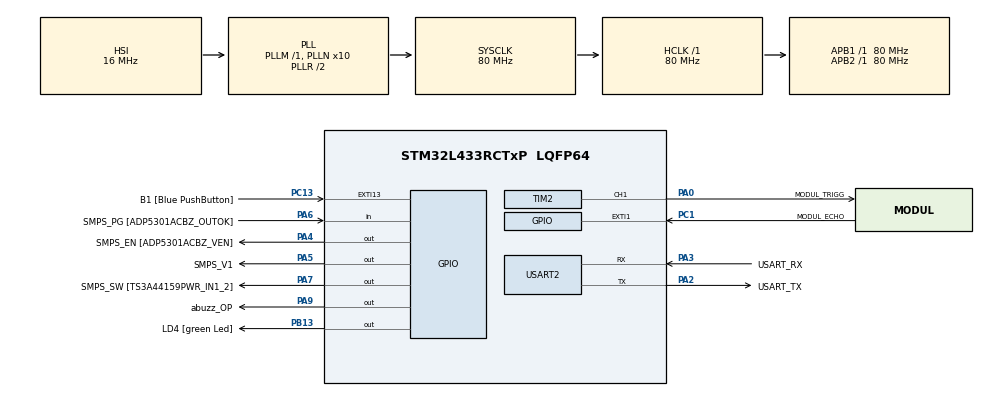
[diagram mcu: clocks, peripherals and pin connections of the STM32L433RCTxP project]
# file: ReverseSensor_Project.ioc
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Mcu.Family=STM32L4
Mcu.Name=STM32L433RCTxP
Mcu.Package=LQFP64
NVIC.EXTI1_IRQn=true\:1\:0\:true\:false\:true\:true\:true\:true
NVIC.PriorityGroup=NVIC_PRIORITYGROUP_4
NVIC.TIM2_IRQn=true\:3\:0\:true\:false\:true\:true\:true\:true
PA0.GPIO_Label=MODUL_TRIGG
PA0.Signal=S_TIM2_CH1
PA13\ (JTMS-SWDIO).GPIO_Label=TMS
PA13\ (JTMS-SWDIO).Mode=Serial_Wire
PA13\ (JTMS-SWDIO).Signal=SYS_JTMS-SWDIO
PA14\ (JTCK-SWCLK).GPIO_Label=TCK
PA14\ (JTCK-SWCLK).Mode=Serial_Wire
PA14\ (JTCK-SWCLK).Signal=SYS_JTCK-SWCLK
PA2.GPIO_Label=USART_TX
PA2.GPIO_Mode=GPIO_MODE_AF_PP
PA2.GPIO_PuPd=GPIO_NOPULL
PA2.GPIO_Speed=GPIO_SPEED_FREQ_VERY_HIGH
PA2.Mode=Asynchronous
PA2.Signal=USART2_TX
PA3.GPIO_Label=USART_RX
PA3.GPIO_Mode=GPIO_MODE_AF_PP
PA3.GPIO_PuPd=GPIO_NOPULL
PA3.GPIO_Speed=GPIO_SPEED_FREQ_VERY_HIGH
PA3.Mode=Asynchronous
PA3.Signal=USART2_RX
PA4.GPIO_Label=SMPS_EN [ADP5301ACBZ_VEN]
PA4.Signal=GPIO_Output
PA5.GPIO_Label=SMPS_V1
PA5.GPIO_ModeDefaultOutputPP=GPIO_MODE_OUTPUT_PP
PA5.GPIO_PuPd=GPIO_NOPULL
PA5.GPIO_Speed=GPIO_SPEED_FREQ_LOW
PA5.Signal=GPIO_Output
PA6.GPIO_Label=SMPS_PG [ADP5301ACBZ_OUTOK]
PA6.GPIO_PuPd=GPIO_PULLUP
PA6.Signal=GPIO_Input
PA7.GPIO_Label=SMPS_SW [TS3A44159PWR_IN1_2]
PA7.Signal=GPIO_Output
PA9.GPIO_Label=abuzz_OP
PA9.Signal=GPIO_Output
PB13.GPIO_Label=LD4 [green Led]
PB13.Signal=GPIO_Output
PB3\ (JTDO-TRACESWO).GPIO_Label=SWO
PB3\ (JTDO-TRACESWO).Signal=SYS_JTDO-SWO
PC1.GPIO_Label=MODUL_ECHO
PC1.GPIO_ModeDefaultEXTI=GPIO_MODE_IT_RISING_FALLING
PC1.Signal=GPXTI1
PC13.GPIO_Label=B1 [Blue PushButton]
PC13.GPIO_ModeDefaultEXTI=GPIO_MODE_IT_FALLING
PC13.GPIO_PuPd=GPIO_NOPULL
PC13.Signal=GPXTI13
PC14-OSC32_IN\ (PC14).Mode=LSE-External-Oscillator
PC14-OSC32_IN\ (PC14).Signal=RCC_OSC32_IN
PC15-OSC32_OUT\ (PC15).Mode=LSE-External-Oscillator
PC15-OSC32_OUT\ (PC15).Signal=RCC_OSC32_OUT
PH0-OSC_IN\ (PH0).GPIO_Label=MCO
PH0-OSC_IN\ (PH0).Mode=HSE-External-Clock-Source
PH0-OSC_IN\ (PH0).Signal=RCC_OSC_IN
PH1-OSC_OUT\ (PH1).Signal=RCC_OSC_OUT
ProjectManager.HeapSize=0x200
ProjectManager.StackSize=0x400
ProjectManager.TargetToolchain=STM32CubeIDE
RCC.ADCFreq_Value=64000000
RCC.AHBFreq_Value=80000000
RCC.APB1Freq_Value=80000000
RCC.APB1TimFreq_Value=80000000
RCC.APB2Freq_Value=80000000
RCC.APB2TimFreq_Value=80000000
RCC.CortexFreq_Value=80000000
RCC.HCLKFreq_Value=80000000
RCC.HSE_VALUE=8000000
RCC.HSI48_VALUE=48000000
RCC.HSI_VALUE=16000000
RCC.MSI_VALUE=4000000
RCC.PLLN=10
RCC.PLLSourceVirtual=RCC_PLLSOURCE_HSI
RCC.PREFETCH_ENABLE=1
RCC.SYSCLKFreq_VALUE=80000000
RCC.SYSCLKSource=RCC_SYSCLKSOURCE_PLLCLK
RCC.USBFreq_Value=64000000
RCC.VCOOutputFreq_Value=160000000
SH.S_TIM2_CH1.0=TIM2_CH1,PWM Generation1 CH1
TIM2.Channel-PWM\ Generation1\ CH1=TIM_CHANNEL_1
TIM2.Period=100000 - 1
TIM2.Prescaler=79
TIM2.Pulse-PWM\ Generation1\ CH1=10
USART2.VirtualMode-Asynchronous=VM_ASYNC
VP_TIM2_VS_ClockSourceINT.Mode=Internal
board=NUCLEO-L433RC-P

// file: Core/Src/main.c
/* USER CODE BEGIN Header */
/**
 ******************************************************************************
 * @file           : main.c
 * @brief          : Main program body
 ******************************************************************************
 * @attention
 *
 * Copyright (c) 2025 STMicroelectronics.
 * All rights reserved.
 *
 * This software is licensed under terms that can be found in the LICENSE file
 * in the root directory of this software component.
 * If no LICENSE file comes with this software, it is provided AS-IS.
 *
 ******************************************************************************
 */
/* USER CODE END Header */
#include "main.h"

/* USER CODE BEGIN Includes */
#include "abuzz.h"
/* USER CODE END Includes */

TIM_HandleTypeDef htim2;

UART_HandleTypeDef huart2;

/* USER CODE BEGIN PV */
float Distance = 0;
uint8_t EchoFlag = 0;
/* USER CODE END PV */

void SystemClock_Config(void);
static void MX_GPIO_Init(void);
static void MX_USART2_UART_Init(void);
static void MX_TIM2_Init(void);
/* USER CODE BEGIN PFP */
void HAL_TIM_MspPostInit(TIM_HandleTypeDef *htim);
/* USER CODE END PFP */

/* USER CODE BEGIN 0 */
int is_blue_button_pushed(){
	return (GPIOC->IDR & 0X2000) != 0;

}
void HAL_TIM_PeriodElapsedCallback(TIM_HandleTypeDef *htim ){

}
uint32_t EchoStart = 0;
uint32_t EchoFinish = 0;
void HAL_GPIO_EXTI_Callback(uint16_t GPIO_Pin){
	if(GPIO_Pin == MODUL_ECHO_Pin)
	{
		if(HAL_GPIO_ReadPin(MODUL_ECHO_GPIO_Port, MODUL_ECHO_Pin) == GPIO_PIN_SET){
			EchoFlag = 1;
			EchoStart = __HAL_TIM_GET_COUNTER(&htim2);
		}
		else if(EchoFlag){
			EchoFinish = __HAL_TIM_GET_COUNTER(&htim2);
			EchoFlag= 0;
			Distance = (EchoFinish - EchoStart) / 58;
		}
	}
}
/* USER CODE END 0 */

int main(void)
{

  /* MCU Configuration--------------------------------------------------------*/

  /* Reset of all peripherals, Initializes the Flash interface and the Systick. */
-  HAL_Init();

  /* Configure the system clock */
  SystemClock_Config();

  /* Initialize all configured peripherals */
  MX_GPIO_Init();
  MX_USART2_UART_Init();
  MX_TIM2_Init();
  /* USER CODE BEGIN 2 */
	HAL_TIM_PWM_Start(&htim2, TIM_CHANNEL_1);
	//HAL_TIM_PWM_Start(&htim1, TIM_CHANNEL_2);
	int started = 0;
  /* USER CODE END 2 */

  /* Infinite loop */
  /* USER CODE BEGIN WHILE */
	while (1)
	{
		if(!started){
			started = is_blue_button_pushed();
		}
    /* USER CODE END WHILE */

    /* USER CODE BEGIN 3 */

		if (started) {
			HAL_Delay(100);
			uint16_t wait_time = 0;

			if (Distance > 400.0f) {
				abuzz_stop();
				HAL_Delay(100); // liten paus om inget hörs
				continue;
			}
			else if (Distance > 200.0f) {
				wait_time = 2000;  // var 3:e sekund
			}
			else if (Distance > 100.0f) {
				wait_time = 750;  // var sekund
			}
			else if (Distance > 50.0f) {
				wait_time = 500;
			}
			else if (Distance > 30.0f) {
				wait_time = 250;
			}
			else if (Distance > 20.0f) {
				wait_time = 175;
			}
			else {
				// konstant pip
				abuzz_start();  // Starta PWM med ljudfrekvens
				HAL_Delay(100); // eller kör utan delay om konstant
				continue;
			}
			// Normalt pip: starta PWM, vänta 100 ms, stoppa, vila resten
			abuzz_start();
			HAL_Delay(100); // Piplängd (0.1 sek)
			abuzz_stop();
			HAL_Delay(wait_time - 100); // Resterande vila
		}
	}

  /* USER CODE END 3 */
}

void SystemClock_Config(void)
{
  RCC_OscInitTypeDef RCC_OscInitStruct = {0};
  RCC_ClkInitTypeDef RCC_ClkInitStruct = {0};

  /** Configure the main internal regulator output voltage
  */
  if (HAL_PWREx_ControlVoltageScaling(PWR_REGULATOR_VOLTAGE_SCALE1) != HAL_OK)
  {
    Error_Handler();
  }

  /** Initializes the RCC Oscillators according to the specified parameters
  * in the RCC_OscInitTypeDef structure.
  */
  RCC_OscInitStruct.OscillatorType = RCC_OSCILLATORTYPE_HSI;
  RCC_OscInitStruct.HSIState = RCC_HSI_ON;
  RCC_OscInitStruct.HSICalibrationValue = RCC_HSICALIBRATION_DEFAULT;
  RCC_OscInitStruct.PLL.PLLState = RCC_PLL_ON;
  RCC_OscInitStruct.PLL.PLLSource = RCC_PLLSOURCE_HSI;
  RCC_OscInitStruct.PLL.PLLM = 1;
  RCC_OscInitStruct.PLL.PLLN = 10;
  RCC_OscInitStruct.PLL.PLLP = RCC_PLLP_DIV7;
  RCC_OscInitStruct.PLL.PLLQ = RCC_PLLQ_DIV2;
  RCC_OscInitStruct.PLL.PLLR = RCC_PLLR_DIV2;
  if (HAL_RCC_OscConfig(&RCC_OscInitStruct) != HAL_OK)
  {
    Error_Handler();
  }

  /** Initializes the CPU, AHB and APB buses clocks
  */
  RCC_ClkInitStruct.ClockType = RCC_CLOCKTYPE_HCLK|RCC_CLOCKTYPE_SYSCLK
                              |RCC_CLOCKTYPE_PCLK1|RCC_CLOCKTYPE_PCLK2;
  RCC_ClkInitStruct.SYSCLKSource = RCC_SYSCLKSOURCE_PLLCLK;
  RCC_ClkInitStruct.AHBCLKDivider = RCC_SYSCLK_DIV1;
  RCC_ClkInitStruct.APB1CLKDivider = RCC_HCLK_DIV1;
  RCC_ClkInitStruct.APB2CLKDivider = RCC_HCLK_DIV1;

  if (HAL_RCC_ClockConfig(&RCC_ClkInitStruct, FLASH_LATENCY_4) != HAL_OK)
  {
    Error_Handler();
  }
}

static void MX_TIM2_Init(void)
{

  TIM_ClockConfigTypeDef sClockSourceConfig = {0};
  TIM_MasterConfigTypeDef sMasterConfig = {0};
  TIM_OC_InitTypeDef sConfigOC = {0};

  /* USER CODE BEGIN TIM2_Init 1 */
	HAL_NVIC_SetPriority(TIM2_IRQn, 2, 0);
	HAL_NVIC_EnableIRQ(TIM2_IRQn);

  /* USER CODE END TIM2_Init 1 */
  htim2.Instance = TIM2;
  htim2.Init.Prescaler = 79;
  htim2.Init.CounterMode = TIM_COUNTERMODE_UP;
  htim2.Init.Period = 100000 - 1;
  htim2.Init.ClockDivision = TIM_CLOCKDIVISION_DIV1;
  htim2.Init.AutoReloadPreload = TIM_AUTORELOAD_PRELOAD_DISABLE;
  if (HAL_TIM_Base_Init(&htim2) != HAL_OK)
  {
    Error_Handler();
  }
  sClockSourceConfig.ClockSource = TIM_CLOCKSOURCE_INTERNAL;
  if (HAL_TIM_ConfigClockSource(&htim2, &sClockSourceConfig) != HAL_OK)
  {
    Error_Handler();
  }
  if (HAL_TIM_PWM_Init(&htim2) != HAL_OK)
  {
    Error_Handler();
  }
  sMasterConfig.MasterOutputTrigger = TIM_TRGO_RESET;
  sMasterConfig.MasterSlaveMode = TIM_MASTERSLAVEMODE_DISABLE;
  if (HAL_TIMEx_MasterConfigSynchronization(&htim2, &sMasterConfig) != HAL_OK)
  {
    Error_Handler();
  }
  sConfigOC.OCMode = TIM_OCMODE_PWM1;
  sConfigOC.Pulse = 10;
  sConfigOC.OCPolarity = TIM_OCPOLARITY_HIGH;
  sConfigOC.OCFastMode = TIM_OCFAST_DISABLE;
  if (HAL_TIM_PWM_ConfigChannel(&htim2, &sConfigOC, TIM_CHANNEL_1) != HAL_OK)
  {
    Error_Handler();
  }
  HAL_TIM_MspPostInit(&htim2);

}

static void MX_USART2_UART_Init(void)
{

  huart2.Instance = USART2;
  huart2.Init.BaudRate = 115200;
  huart2.Init.WordLength = UART_WORDLENGTH_8B;
  huart2.Init.StopBits = UART_STOPBITS_1;
  huart2.Init.Parity = UART_PARITY_NONE;
  huart2.Init.Mode = UART_MODE_TX_RX;
  huart2.Init.HwFlowCtl = UART_HWCONTROL_NONE;
  huart2.Init.OverSampling = UART_OVERSAMPLING_16;
  huart2.Init.OneBitSampling = UART_ONE_BIT_SAMPLE_DISABLE;
  huart2.AdvancedInit.AdvFeatureInit = UART_ADVFEATURE_NO_INIT;
  if (HAL_UART_Init(&huart2) != HAL_OK)
  {
    Error_Handler();
  }

}

static void MX_GPIO_Init(void)
{
  GPIO_InitTypeDef GPIO_InitStruct = {0};

  /* GPIO Ports Clock Enable */
  __HAL_RCC_GPIOC_CLK_ENABLE();
  __HAL_RCC_GPIOH_CLK_ENABLE();
  __HAL_RCC_GPIOA_CLK_ENABLE();
  __HAL_RCC_GPIOB_CLK_ENABLE();

  /*Configure GPIO pin Output Level */
  HAL_GPIO_WritePin(GPIOA, SMPS_EN_Pin|SMPS_V1_Pin|SMPS_SW_Pin|abuzz_OP_Pin, GPIO_PIN_RESET);

  /*Configure GPIO pin Output Level */
  HAL_GPIO_WritePin(LD4_GPIO_Port, LD4_Pin, GPIO_PIN_RESET);

  /*Configure GPIO pin : B1_Pin */
  GPIO_InitStruct.Pin = B1_Pin;
  GPIO_InitStruct.Mode = GPIO_MODE_IT_FALLING;
  GPIO_InitStruct.Pull = GPIO_NOPULL;
  HAL_GPIO_Init(B1_GPIO_Port, &GPIO_InitStruct);

  /*Configure GPIO pin : MODUL_ECHO_Pin */
  GPIO_InitStruct.Pin = MODUL_ECHO_Pin;
  GPIO_InitStruct.Mode = GPIO_MODE_IT_RISING_FALLING;
  GPIO_InitStruct.Pull = GPIO_NOPULL;
  HAL_GPIO_Init(MODUL_ECHO_GPIO_Port, &GPIO_InitStruct);

  /*Configure GPIO pins : SMPS_EN_Pin SMPS_V1_Pin SMPS_SW_Pin abuzz_OP_Pin */
  GPIO_InitStruct.Pin = SMPS_EN_Pin|SMPS_V1_Pin|SMPS_SW_Pin|abuzz_OP_Pin;
  GPIO_InitStruct.Mode = GPIO_MODE_OUTPUT_PP;
  GPIO_InitStruct.Pull = GPIO_NOPULL;
  GPIO_InitStruct.Speed = GPIO_SPEED_FREQ_LOW;
  HAL_GPIO_Init(GPIOA, &GPIO_InitStruct);

  /*Configure GPIO pin : SMPS_PG_Pin */
  GPIO_InitStruct.Pin = SMPS_PG_Pin;
  GPIO_InitStruct.Mode = GPIO_MODE_INPUT;
  GPIO_InitStruct.Pull = GPIO_PULLUP;
  HAL_GPIO_Init(SMPS_PG_GPIO_Port, &GPIO_InitStruct);

  /*Configure GPIO pin : LD4_Pin */
  GPIO_InitStruct.Pin = LD4_Pin;
  GPIO_InitStruct.Mode = GPIO_MODE_OUTPUT_PP;
  GPIO_InitStruct.Pull = GPIO_NOPULL;
  GPIO_InitStruct.Speed = GPIO_SPEED_FREQ_LOW;
  HAL_GPIO_Init(LD4_GPIO_Port, &GPIO_InitStruct);

  /* EXTI interrupt init*/
  HAL_NVIC_SetPriority(EXTI1_IRQn, 1, 0);
  HAL_NVIC_EnableIRQ(EXTI1_IRQn);

}

void Error_Handler(void)
{
	__disable_irq();
	while (1)
	{
	}
}
